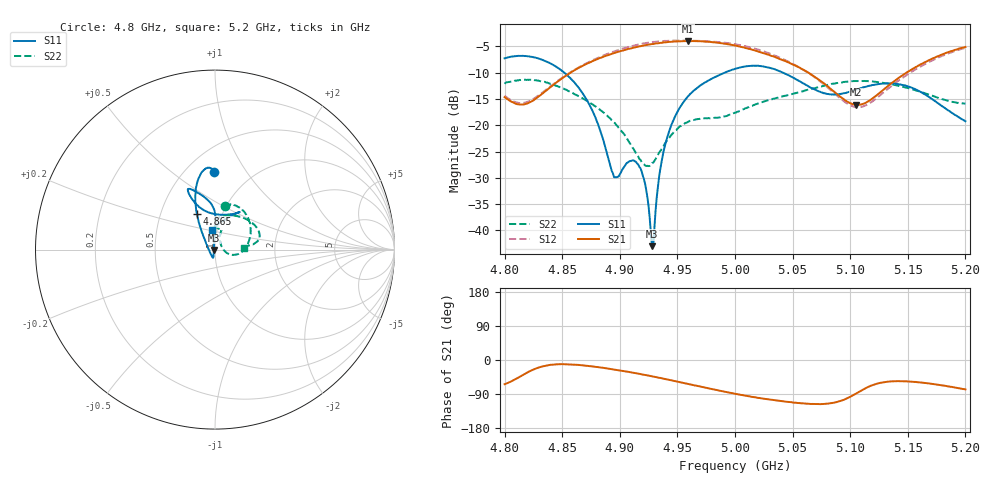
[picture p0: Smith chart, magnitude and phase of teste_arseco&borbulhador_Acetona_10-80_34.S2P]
! Network Analyzer HP8722D
! Hewlett-Packard
! Data name: Linha & Wilkinson
! Saver's name: Rodrigo Anjos
! Comments: Teste da utilização de aquisição
! continua pelo VNA HP8722D
! Time and date: 25/4/2025 15:33
!  Frequency  S11  S21  S12  S22
# HZ  S  MA R 50
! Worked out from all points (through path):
!   401 points, 4.8 GHz to 5.2 GHz, reference 50 ohm
!   highest |S21| = -3.96 dB at 4.959 GHz (marker M1); lowest = -16.1 dB at 5.105 GHz (marker M2)
!   lowest |S11| = -43.0 dB at 4.928 GHz (marker M3), VSWR 1.01, Z = 49.3 - j0.205 ohm
!   |S11| at or under -10 dB: 4.852 GHz to 4.991 GHz (139 MHz wide, 2.82 % of centre); 5.042 GHz to end of sweep
!   |S22| runs from -27.8 to -11.3 dB; largest |S21 - S12| = 1.2
!   S11 on the Smith chart (normalised r, x): 4.8 GHz: 0.68, +0.73; 4.865 GHz: 0.76, +0.32; 5.2 GHz: 0.94, +0.20
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4.8e9  0.4338 90.4  0.1853 -63.8  0.191 69.8  0.2487 77.5
4.82e9  0.4526 96.8  0.1618 -32.4  0.1674 98.5  0.2715 61.3
4.845e9  0.3589 107.1  0.2557 -11.4  0.2591 119.4  0.2376 34.3
4.865e9  0.2223 117.0  0.3549 -13.2  0.3593 120.9  0.1879 10.9
4.867e9  0.2069 118.0  0.3643 -14.0  0.369 120.6  0.1824 8.4
4.88e9  0.1096 128.5  0.4237 -18.5  0.4344 118.2  0.1481 -5.6
4.895e9  0.03217 -171.1  0.4867 -24.8  0.503 113.6  0.1065 -16.2
4.91e9  0.04596 -105.0  0.5392 -32.6  0.5649 106.9  0.06412 -14.1
4.917e9  0.04023 -102.2  0.5644 -36.6  0.5891 103.4  0.04786 -1.4
4.923e9  0.024 -107.7  0.5795 -40.1  0.6072 99.9  0.04106 20.8
4.928e9  0.007089 -163.0  0.5932 -43.1  0.6182 97.1  0.04389 41.2
4.93e9  0.01043 125.2  0.598 -44.2  0.6209 95.6  0.04577 49.4
4.934e9  0.03174 98.8  0.6042 -46.9  0.6288 93.2  0.05474 58.8
4.943e9  0.08901 90.5  0.6213 -52.5  0.6374 87.4  0.07622 69.2
4.959e9  0.1876 89.3  0.6335 -63.1  0.6411 77.1  0.1076 71.6
5e9  0.3448 108.9  0.5734 -89.1  0.5927 50.7  0.1319 88.9
5.03e9  0.3526 114.9  0.4648 -104.2  0.4825 33.5  0.1739 85.5
5.067e9  0.225 105.0  0.3008 -115.9  0.2984 23.5  0.2224 57.0
5.105e9  0.2187 64.8  0.1567 -88.7  0.1491 54.4  0.2634 25.5
5.134e9  0.2505 56.8  0.2416 -56.8  0.2275 88.6  0.2479 12.4
5.169e9  0.1842 69.4  0.4186 -62.2  0.4031 84.8  0.1945 6.8
5.2e9  0.1093 100.2  0.5561 -77.8  0.5452 70.0  0.1609 3.8
